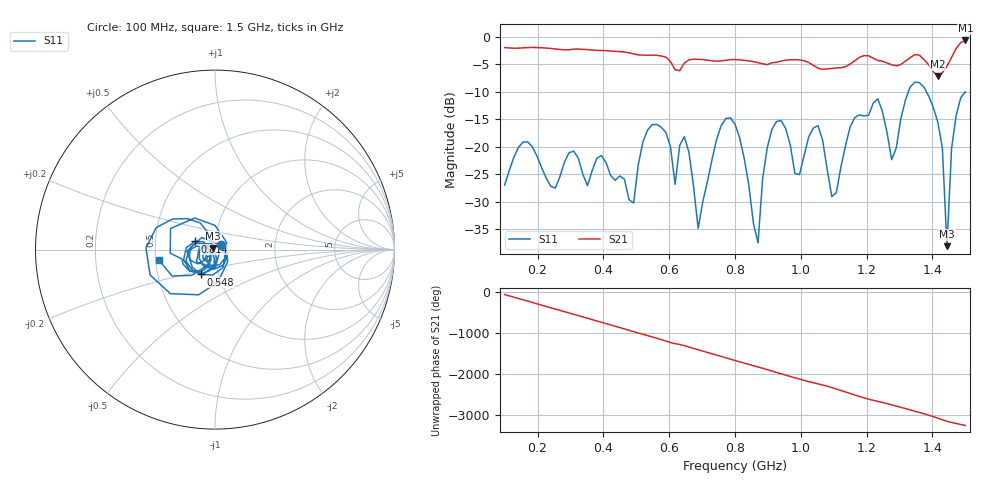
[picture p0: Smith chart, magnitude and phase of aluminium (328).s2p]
! NanoVNA-App
! Date: 2025-09-25 14:57:50
! Start: 100MHz Stop: 1,5GHz Points: 101
! S-Parameter data: F S11 S21 S12 S22
# Hz S RI R 50
!  Frequency  S11_Real  S11_Imag  S21_Real  S21_Imag  S12_Real  S12_Imag  S22_Real  S22_Imag
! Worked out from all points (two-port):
!   101 points, 100 MHz to 1.5 GHz, reference 50 ohm
!   highest |S21| = -0.63 dB at 1.5 GHz (marker M1); lowest = -7.2 dB at 1.416 GHz (marker M2)
!   |S21| within 3 dB of the highest: start of sweep to 587 MHz; 1.459 GHz to end of sweep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
!   lowest |S11| = -38.1 dB at 1.444 GHz (marker M3), VSWR 1.03, Z = 48.9 + j0.624 ohm
!   |S11| at or under -10 dB: start of sweep to 1.327 GHz; 1.382 GHz to 1.499 GHz (117.6 MHz wide, 8.16 % of centre)
!   S12 and S22 are empty: the file has one direction only
!   S11 on the Smith chart (normalised r, x): 100 MHz: 1.07, +0.06; 548 MHz: 0.82, -0.23; 814 MHz: 0.79, +0.07; 1.5 GHz: 0.52, -0.07
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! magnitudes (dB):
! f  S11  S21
! 100 MHz  -27.0  -1.9
! 338 MHz  -25.0  -2.2
! 492 MHz  -30.2  -3.1
! 548 MHz  -16.0  -3.3
! 576 MHz  -16.4  -3.5
! 618 MHz  -26.8  -6.0
! 646 MHz  -18.1  -4.7
! 688 MHz  -34.8  -4.1
! 800 MHz  -15.9  -4.1
! 814 MHz  -18.3  -4.2
! 870 MHz  -37.5  -4.7
! 912 MHz  -16.8  -4.7
! 996 MHz  -25.0  -4.2
! 1.038 GHz  -16.6  -5.2
! 1.094 GHz  -29.0  -5.7
! 1.234 GHz  -11.2  -4.3
! 1.276 GHz  -22.3  -5.1
! 1.346 GHz  -8.2  -3.2
! 1.416 GHz  -15.4  -7.2
! 1.444 GHz  -38.1  -5.3
! 1.458 GHz  -20.3  -3.7
! 1.5 GHz  -10.0  -0.6
